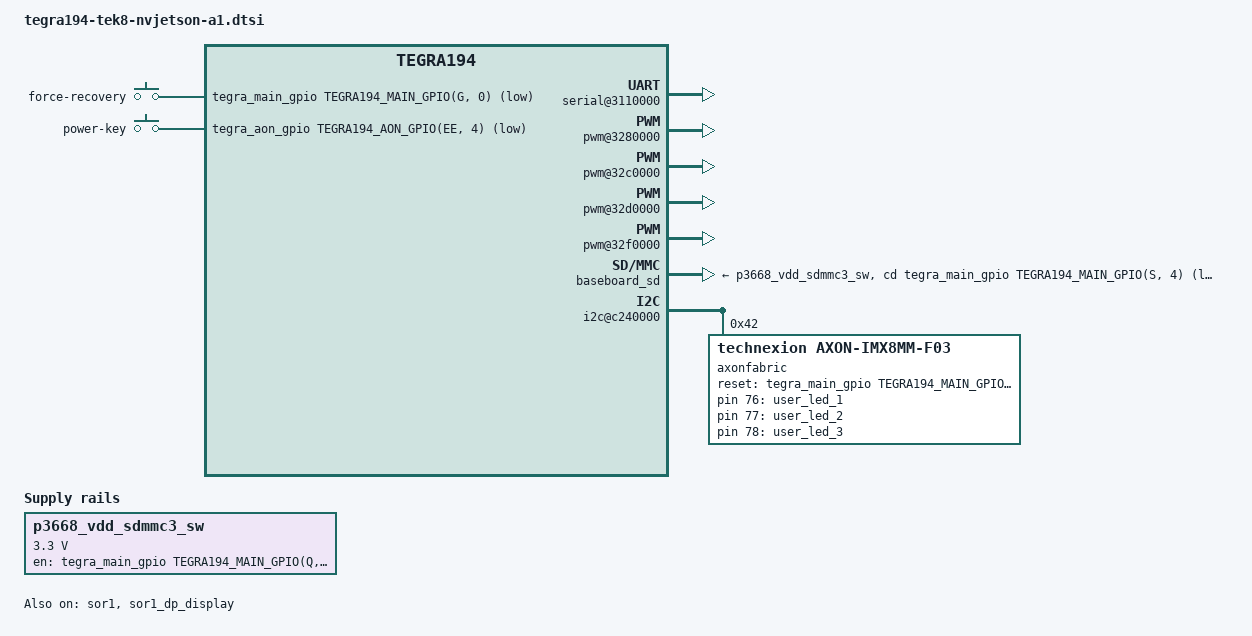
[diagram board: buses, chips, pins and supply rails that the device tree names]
/*
 * Copyright (c) 2019-2021, NVIDIA CORPORATION.  All rights reserved.
 *
 * This program is free software; you can redistribute it and/or modify
 * it under the terms of the GNU General Public License as published by
 * the Free Software Foundation; version 2 of the License.
 *
 * This program is distributed in the hope that it will be useful, but WITHOUT
 * ANY WARRANTY; without even the implied warranty of MERCHANTABILITY or
 * FITNESS FOR A PARTICULAR PURPOSE.  See the GNU General Public License for
 * more details.
 */
#include <dt-bindings/gpio/tegra194-gpio.h>
#include "dt-bindings/input/input.h"
#include "tegra194-fixed-regulator-p3509-0000-a00.dtsi"
#include "tegra194-p3509-disp.dtsi"
#include "tegra194-audio-p3668.dtsi"
#include "tegra194-super-module-e2614-p3509.dtsi"
#include "tegra194-camera-tek8-nvjetson-tevi-ov5640.dtsi"
/ {
	gpio-keys {
		compatible = "gpio-keys";
		gpio-keys,name = "gpio-keys";

		forcerecovery {
			label = "force-recovery";
			gpios = <&tegra_main_gpio TEGRA194_MAIN_GPIO(G, 0) GPIO_ACTIVE_LOW>;
			linux,code = <BTN_1>;
		};

		power_key {
			label = "power-key";
			gpios = <&tegra_aon_gpio TEGRA194_AON_GPIO(EE, 4) GPIO_ACTIVE_LOW>;
			linux,code = <KEY_POWER>;
			gpio-key,wakeup;
		};
	};
	eeprom-manager {
		data-size = <0x100>;
		bus@0 {
			i2c-bus = <&gen1_i2c>;
			eeprom@1 {
				slave-address = <0x57>;
				label = "cvb";
			};
		};

		bus@1 {
			i2c-bus = <&gen2_i2c>;
			eeprom@1 {
				slave-address = <0x50>;
				label = "super-module";
			};
		};
	};
	pwm-fan {
		pwms = <&tegra_pwm6 0 45334>;
		vdd-fan-supply = <&p3509_vdd_fan>;
		profiles {
			default = "quiet";
			quiet {
				state_cap = <4>;
				active_pwm = <0 130 160 200 255 255 255 255 255 255>;
			};
			cool {
				state_cap = <4>;
				active_pwm = <0 140 170 200 255 255 255 255 255 255>;
			};
		};
	};
	thermal-fan-est {
		profiles {
			default = "quiet";
			quiet {
				active_trip_temps = <0 46000 60000 68000 76000
						140000 150000 160000 170000 180000>;
				active_hysteresis = <0 8000 8000 7000 7000
						0 0 0 0 0>;
			};
			cool {
				active_trip_temps = <0 35000 45000 53000 61000
						140000 150000 160000 170000 180000>;
				active_hysteresis = <0 8000 8000 7000 7000
						0 0 0 0 0>;
			};
		};
	};
	serial@3110000 {
		status = "okay";
	};
	tachometer@39c0000 {
		status = "okay";
	};
	pwm@3280000 {
		status = "okay";
	};

	pwm@32c0000 {
		status = "okay";
	};

	pwm@32d0000 {
		status = "okay";
	};

	pwm@32f0000 {
		status = "okay";
	};
	spi@c260000 {
		status = "disabled";
	};

	spi@3300000 {
		status = "disabled";
	};

	fixed-regulators {
		p3668_vdd_sdmmc3_sw: regulator@114 {
			compatible = "regulator-fixed";
			reg = <114>;
			regulator-name = "vdd-sdmmc3-sw";
			regulator-min-microvolt = <3300000>;
			regulator-max-microvolt = <3300000>;
			gpio = <&tegra_main_gpio TEGRA194_MAIN_GPIO(Q, 5) 0>;
			enable-active-high;
		};
	};

	baseboard_sd: sdhci@3440000 { /* sdmmc3 */
		mmc-ocr-mask = <0x0>;
		cd-inverted;
		cd-gpios = <&tegra_main_gpio TEGRA194_MAIN_GPIO(S, 4) 0>;
		nvidia,cd-wakeup-capable;
		mmc-ocr-mask = <0>;
		cd-inverted;
		vmmc-supply = <&p3668_vdd_sdmmc3_sw>;
		nvidia,vmmc-always-on;
		status = "okay";
	};

	i2c@c240000 {
		// Note that i2c address for the fabric will change in rev 0.2 of the board.
		// In rev 0.1, I2C0 is connected to regular io pins on the fpga, which allows
		// it to communicate with the EFB secondary I2C interface (not the primary).
		// In rev 0.2, the I2C pins will be connected to the correct sysConfig pins of
		// the FPGA, so the address will revert to 0x41.
		axonfabric: axonfabric@42 {
			reg = <0x42>;  // 0x42 is temporary only for board rev 0.1
			pinctrl-names = "default";
			compatible = "technexion,axon-imx8mm-f03";
			reset-gpios = <&tegra_main_gpio TEGRA194_MAIN_GPIO(P, 4) 1>;
			gpio-controller;
			#gpio-cells = <2>;
			gpio-line-names =
				"F_GPIO01", "F_GPIO02", "F_GPIO03", "F_GPIO04", // Bank 0
				"F_GPIO05", "F_GPIO06", "F_GPIO07", "F_GPIO08", // Bank 0
				"F_GPIO09", "F_GPIO10", "F_GPIO11", "F_GPIO12", // Bank 1
				"F_GPIO13", "F_GPIO14", "F_GPIO15", "F_GPIO16", // Bank 1
				"F_GPIO17", "F_GPIO18", "F_GPIO19", "F_GPIO20", // Bank 2
				"F_GPIO21", "F_GPIO22", "F_GPIO23", "F_GPIO24", // Bank 2
				"F_GPIO25", "F_GPIO26", "F_GPIO27", "F_GPIO28", // Bank 3
				"F_GPIO29", "F_GPIO30", "F_GPIO31", "F_GPIO32", // Bank 3
				"F_GPIO33", "F_GPIO34", "F_GPIO35", "F_GPIO36", // Bank 4
				"F_GPIO37", "F_GPIO38", "F_GPIO39", "F_GPIO40", // Bank 4
				"F_GPIO41", "F_GPIO42", "F_GPIO43", "F_GPIO44", // Bank 5
				"F_GPIO45", "F_GPIO46", "F_GPIO47", "F_GPIO48", // Bank 5
				"F_GPIO49", "F_GPIO50", "F_GPIO51", "F_GPIO52", // Bank 6
				"F_GPIO53", "F_GPIO54", "F_GPIO55", "F_GPIO56", // Bank 6
				"F_GPIO57", "F_GPIO58", "F_GPIO59", "F_GPIO60", // Bank 7
				"F_GPIO61", "F_GPIO62", "F_GPIO63", "F_GPIO64", // Bank 7
				"F_GPIO65", "F_GPIO66", "F_GPIO67", "F_GPIO68", // Bank 8
				"F_GPIO69", "F_GPIO70", "", "",                 // Bank 8
				"F_UART_TXD", "F_UART_RXD", "F_UART_CTS", "F_UART_RTS",  // Bank 9
				"F_GPIO_LED1", "F_GPIO_LED2", "F_GPIO_LED3", "",         // Bank 9
				"CSI0_RST_N", "CSI0_PWDN", "CSI0_PDB", "CSI0_INT",       // Bank 10
				"CSI1_RST_N", "CSI1_PWDN", "CSI1_PDB", "CSI1_INT",       // Bank 10
				"CSI2_RST_N", "CSI2_PWDN", "CSI2_PDB", "CSI2_INT",       // Bank 11
				"CSI3_RST_N", "CSI3_PWDN", "CSI3_PDB", "CSI3_INT",       // Bank 11
				"CSI4_RST_N", "CSI4_PWDN", "CSI4_PDB", "CSI4_INT",       // Bank 12
				"CSI5_RST_N", "CSI5_PWDN", "CSI5_PDB", "CSI5_INT",       // Bank 12
				"LTE_DISABLE_CTRL", "LTE_WAKE_AP", "M2_RTS_N", "F_SIO_GPO30",  // Bank 13
				"CASE_OPEN_N", "F_SOC_COREPOWER_OK", "F_IGNITION", "";      // Bank 13
			status="okay";

			pinmux_axonfabric: pinmux_axonfabric {
				status = "okay";

				// LEDs
				pinctrl_af_nxbox_leds: pc_nxbox_leds {
					pins = "F_GPIO_LED1", "F_GPIO_LED2", "F_GPIO_LED3";
					function = "gpio";
					drive-push-pull;
				};

				// Regular GPIO
				pinctrl_af_nxbox_gpio: pc_nxbox_gpio {
					pins =  "F_GPIO01", "F_GPIO02", "F_GPIO03", "F_GPIO04", // Bank 0
							"F_GPIO05", "F_GPIO06", "F_GPIO07", "F_GPIO08", // Bank 0
							"F_GPIO09", "F_GPIO10", "F_GPIO11", "F_GPIO12", // Bank 1
							"F_GPIO13", "F_GPIO14", "F_GPIO15", "F_GPIO16", // Bank 1
							"F_GPIO17", "F_GPIO18", "F_GPIO19", "F_GPIO20", // Bank 2
							"F_GPIO21", "F_GPIO22", "F_GPIO23", "F_GPIO24", // Bank 2
							"F_GPIO25", "F_GPIO26", "F_GPIO27", "F_GPIO28", // Bank 3
							"F_GPIO29", "F_GPIO30", "F_GPIO31", "F_GPIO32", // Bank 3
							"F_GPIO33", "F_GPIO34", "F_GPIO35", "F_GPIO36", // Bank 4
							"F_GPIO37", "F_GPIO38", "F_GPIO39", "F_GPIO40", // Bank 4
							"F_GPIO41", "F_GPIO42", "F_GPIO43", "F_GPIO44", // Bank 5
							"F_GPIO45", "F_GPIO46", "F_GPIO47", "F_GPIO48", // Bank 5
							"F_GPIO49", "F_GPIO50", "F_GPIO51", "F_GPIO52", // Bank 6
							"F_GPIO53", "F_GPIO54", "F_GPIO55", "F_GPIO56", // Bank 6
							"F_GPIO57", "F_GPIO58", "F_GPIO59", "F_GPIO60", // Bank 7
							"F_GPIO61", "F_GPIO62", "F_GPIO63", "F_GPIO64", // Bank 7
							"F_GPIO65", "F_GPIO66", "F_GPIO67", "F_GPIO68", // Bank 8
							"F_GPIO69", "F_GPIO70",				// Bank 8
							"CSI0_RST_N", "CSI0_PWDN", "CSI0_PDB", "CSI0_INT",       // Bank 10
							"CSI1_RST_N", "CSI1_PWDN", "CSI1_PDB", "CSI1_INT",       // Bank 10
							"CSI2_RST_N", "CSI2_PWDN", "CSI2_PDB", "CSI2_INT",       // Bank 11
							"CSI3_RST_N", "CSI3_PWDN", "CSI3_PDB", "CSI3_INT",       // Bank 11
							"CSI4_RST_N", "CSI4_PWDN", "CSI4_PDB", "CSI4_INT",       // Bank 12
							"CSI5_RST_N", "CSI5_PWDN", "CSI5_PDB", "CSI5_INT";       // Bank 12;
					function = "gpio";
					drive-push-pull;
				};
			};

			gpio_axonfabric: gpio_axonfabric {
				status = "okay";
				compatible = "technexion,axonfabric-gpio";
				pinctrl-names = "default";
				pinctrl-0 = <&pinmux_axonfabric>;
			};
		};
	};

	fpga_leds: fpga_leds {
		compatible = "gpio-leds";
		pinctrl-names = "default";
		status = "okay";

		user_led_1: fpga_user_led_1 {
			label = "user_led_1";
			gpios = <&axonfabric 76 GPIO_ACTIVE_HIGH>;
			linux,default-trigger = "heartbeat";
		};

		user_led_2: fpga_user_led_2 {
			label = "user_led_2";
			gpios = <&axonfabric 77 GPIO_ACTIVE_HIGH>;
			default-state = "off";
		};

		user_led_3: fpga_user_led_3 {
			label = "user_led_3";
			gpios = <&axonfabric 78 GPIO_ACTIVE_HIGH>;
			default-state = "off";
		};
	};

	gpio@2200000 {
		/* gpio-name for 40-pin header, gpio-name given as COL(10) x ROW(24),
		   Tegra-GPIO starts from 288 */
		gpio-line-names = "",   "",     "",     "",     "",     "",     "",     "",     "",     "",
		"",     "",     "",     "",     "",     "",     "",     "",     "",     "",
		"",     "",     "",     "",     "",     "",     "",     "",     "",     "",
		"",     "",     "",     "",     "",     "",     "",     "",     "",     "",
		"",     "",     "",     "",     "",     "",     "",     "",     "",     "",
		"",     "",     "",     "",     "",     "",     "",     "",     "",     "",
		"",     "",     "",     "",     "",     "",     "",     "",     "",     "",
		"",     "",     "",     "",     "",     "",     "",     "",     "",     "",
		"",     "",     "",     "",     "",     "",     "",     "",     "",     "",
		"",     "",     "",     "",     "",     "",     "",     "",     "",     "",
		"",     "",     "",     "",     "",     "GPIO13",     "",     "",     "",     "",
		"",     "",     "",     "",     "",     "",     "",     "",     "",     "",
		"",     "",     "",     "",     "",     "",     "",     "",     "",     "",
		"",     "",     "",     "GPIO01",     "GPIO11",     "",     "GPIO07",     "",     "",     "",
		"UART1_RTS",     "UART1_CTS",     "",     "",     "",     "",     "",     "",     "GPIO09",     "",
		"",     "",     "",     "",     "",     "",     "",     "I2S0_SCLK",     "I2S0_DOUT",     "I2S0_DIN",
		"I2S0_FS",     "",     "",     "",     "",     "",     "",     "",     "",     "",
		"",     "",     "",     "",     "",     "",     "",     "",     "",     "",
		"",     "",     "",     "",     "",     "",     "",     "",     "",     "",
		"",     "",     "SPI1_SCK",     "SPI1_MISO",     "SPI1_MOSI",     "SPI1_CS0",     "SPI1_CS1",     "",     "",     "",
		"",     "",     "",     "SPI0_SCK",     "SPI0_MISO",     "SPI0_MOSI",     "SPI0_CS0",     "SPI0_CS1",     "",     "",
		"",     "",     "",     "",     "",     "",     "",     "",     "",     "",
		"",     "",     "",     "",     "",     "",     "",     "",     "",     "",
		"",     "",     "",     "",     "",     "",     "",     "",     "",     "";
	};

	gpio@c2f0000 {
		/* gpio-name for 40-pin header, gpio-name given as COL(10) x ROW(2),
		   Tegra-AON-GPIO starts from 248 */
		gpio-line-names = "",   "",     "",     "",     "",     "",     "",     "",     "",     "",
		"",     "",     "",     "",     "",     "",     "",     "",     "",     "",     "GPIO12";
	};
};

&head0 {
	/delete-property/ avdd_hdmi-supply;
	/delete-property/ avdd_hdmi_pll-supply;
	/delete-property/ vdd_hdmi_5v0-supply;
	vdd-dp-pwr-supply = <&p3668_spmic_sd0>;
	avdd-dp-pll-supply = <&p3668_spmic_sd1>;
	vdd-edp-sec-mode-supply = <&battery_reg>;
	vdd-dp-pad-supply = <&battery_reg>;
	vdd_hdmi_5v0-supply = <&p3509_vdd_hdmi_5v0>;
};

&sor1 {
	status = "okay";
	nvidia,active-panel = <&sor1_dp_display>;
};

&sor1_hdmi_display {
	status = "disabled";
};

&sor1_dp_display {
	status = "okay";
	nvidia,is_ext_dp_panel = <1>;
};
